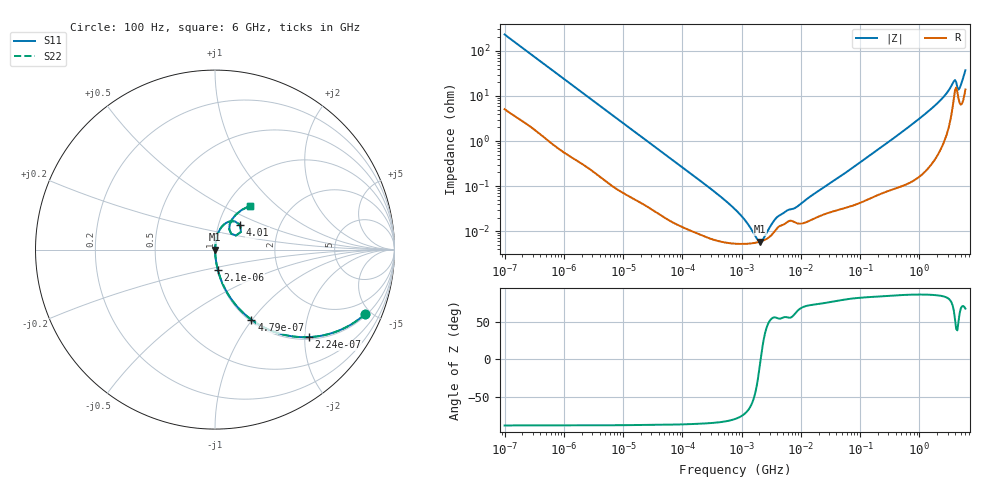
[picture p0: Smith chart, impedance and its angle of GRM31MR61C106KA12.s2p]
!Murata Part Number: GRM31MR61C106KA12
!These Parameters are Measured in Series Mode Connection
!Data Generated on Mar 30, 2021
!  o--ll--o
!Port1  Port2
!  o------o
!Operation Temp=25[degC], DC Bias Voltage=0[V]
!Freq. Start=100[Hz] Stop=6[GHz] 401[Steps]
# Hz S RI R 50
!Freq.(Hz) S11(Real) S11(Imag) S21(Real) S21(Imag) S12(Real) S12(Imag) S22(Real) S22(Imag)
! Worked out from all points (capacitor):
!   401 points, 100 Hz to 6 GHz, reference 50 ohm
!   read as one part in series: C = 6.82 uF near 109 Hz
!   lowest |Z| = 5.85 mohm at 2.074 MHz (marker M1)
!   series resonance near 2.099 MHz, so ESL is about 840 pH
!   S11 on the Smith chart (normalised r, x): 100 Hz: 1.10, -4.65; 224 Hz: 1.05, -2.10; 479 Hz: 1.02, -0.99; 2.1 kHz: 1.01, -0.23; 4.01 GHz: 1.27, +0.36; 6 GHz: 1.28, +0.69
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100  0.8383 -0.3573  0.1617 0.3573  0.1617 0.3573  0.8383 -0.3573
224  0.5236 -0.4877  0.4764 0.4877  0.4764 0.4877  0.5236 -0.4877
479  0.2033 -0.3909  0.7967 0.3909  0.7967 0.3909  0.2033 -0.3909
897  0.0717 -0.2467  0.9283 0.2467  0.9283 0.2467  0.0717 -0.2467
2008  0.0174 -0.1184  0.9826 0.1184  0.9826 0.1184  0.0174 -0.1184
2100  0.0161 -0.1134  0.9839 0.1134  0.9839 0.1134  0.0161 -0.1134
6728  0.00232 -0.0367  0.9977 0.0367  0.9977 0.0367  0.00232 -0.0367
40335  0.000277 -0.00634  0.9997 0.00634  0.9997 0.00634  0.000277 -0.00634
774597  5.25e-05 -0.000301  0.9999 0.000301  0.9999 0.000301  5.25e-05 -0.000301
1516199  5.36e-05 -8.59e-05  0.9999 8.59e-05  0.9999 8.59e-05  5.36e-05 -8.59e-05
2074311  5.84e-05 -3.1e-06  0.9999 3.1e-06  0.9999 3.1e-06  5.84e-05 -3.1e-06
2713602  6.84e-05 6.85e-05  0.9999 -6.85e-05  0.9999 -6.85e-05  6.84e-05 6.85e-05
4060267  0.000119 0.000171  0.9999 -0.000171  0.9999 -0.000171  0.000119 0.000171
8311524  0.000152 0.000299  0.9998 -0.000299  0.9998 -0.000299  0.000152 0.000299
1.555665e7  0.000181 0.000601  0.9998 -0.000601  0.9998 -0.000601  0.000181 0.000601
3.124326e8  0.000887 0.00979  0.9991 -0.00979  0.9991 -0.00979  0.000887 0.00979
1.197065e9  0.00339 0.0377  0.9966 -0.0377  0.9966 -0.0377  0.00339 0.0377
2.450438e9  0.0154 0.0867  0.9846 -0.0867  0.9846 -0.0867  0.0154 0.0867
3.666503e9  0.0825 0.1574  0.9175 -0.1574  0.9175 -0.1574  0.0825 0.1574
4.009986e9  0.1404 0.1375  0.8596 -0.1375  0.8596 -0.1375  0.1404 0.1375
4.796499e9  0.0794 0.1129  0.9206 -0.1129  0.9206 -0.1129  0.0794 0.1129
6e9  0.1965 0.2446  0.8035 -0.2446  0.8035 -0.2446  0.1965 0.2446
